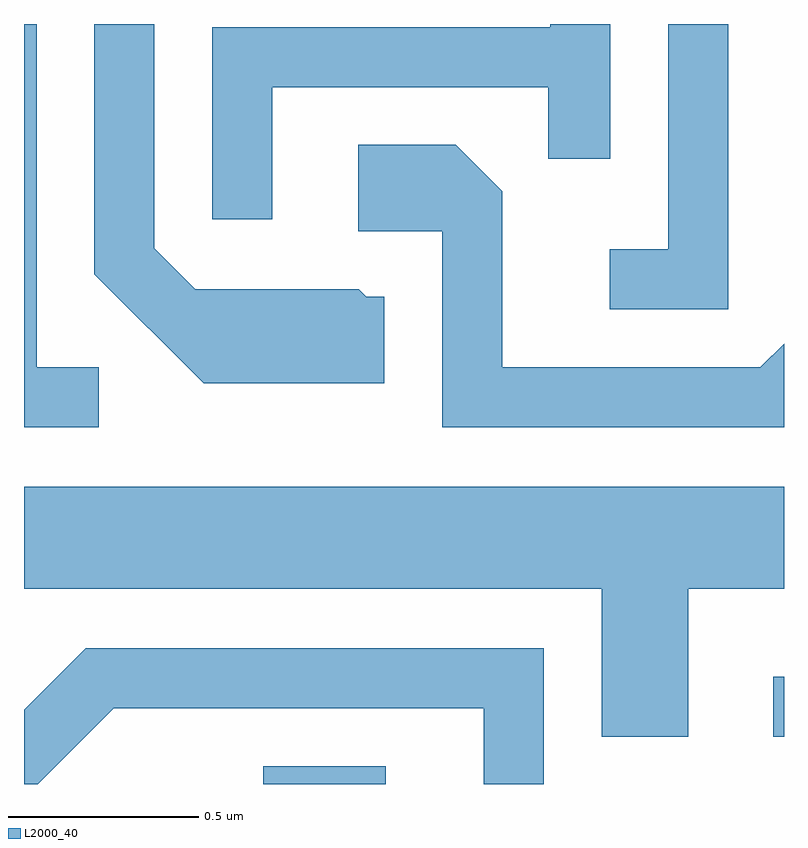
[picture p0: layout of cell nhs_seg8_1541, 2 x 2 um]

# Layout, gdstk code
import gdstk
lib = gdstk.Library(unit=1e-6, precision=1e-09)
def R(c, l, rs):  # rectangles x0, y0, x1, y1
    for r in rs: c.add(gdstk.rectangle(r[:2], r[2:], *l))
def P(c, l, *ps):  # polygons
    for p in ps: c.add(gdstk.Polygon(p, *l))
L2000_40 = (2000, 40)

nhs_seg8_1541 = lib.new_cell('nhs_seg8_1541')
R(nhs_seg8_1541, L2000_40, [(197.241,1840.342,197.563,1840.389), (198.583,1840.466,198.611,1840.624)])
P(nhs_seg8_1541, L2000_40, [(198.464,1842.342),(198.306,1842.342),(198.306,1841.749),(198.153,1841.749),(198.153,1841.591),(198.464,1841.591)],
  [(197.559,1841.624),(197.512,1841.624),(197.492,1841.644),(197.062,1841.644),(196.954,1841.752),(196.954,1842.342),(196.796,1842.342),(196.796,1841.684),(197.084,1841.396),(197.559,1841.396)],
  [(197.264,1842.176),(197.991,1842.176),(197.991,1841.988),(198.154,1841.988),(198.154,1842.342),(197.996,1842.342),(197.996,1842.334),(197.106,1842.334),(197.106,1841.828),(197.264,1841.828)],
  [(196.808,1841.439),(196.644,1841.439),(196.644,1842.342),(196.611,1842.342),(196.611,1841.281),(196.808,1841.281)],
  [(198.611,1841.501),(198.549,1841.439),(197.869,1841.439),(197.869,1841.902),(197.747,1842.024),(197.491,1842.024),(197.491,1841.796),(197.711,1841.796),(197.711,1841.281),(198.611,1841.281)],
  [(198.359,1840.856),(198.611,1840.856),(198.611,1841.124),(196.611,1841.124),(196.611,1840.856),(198.131,1840.856),(198.131,1840.466),(198.359,1840.466)],
  [(196.847,1840.541),(197.821,1840.541),(197.821,1840.342),(197.979,1840.342),(197.979,1840.699),(196.774,1840.699),(196.611,1840.537),(196.611,1840.342),(196.647,1840.342)])

lib.write_gds('nhs_seg8_1541.gds')
